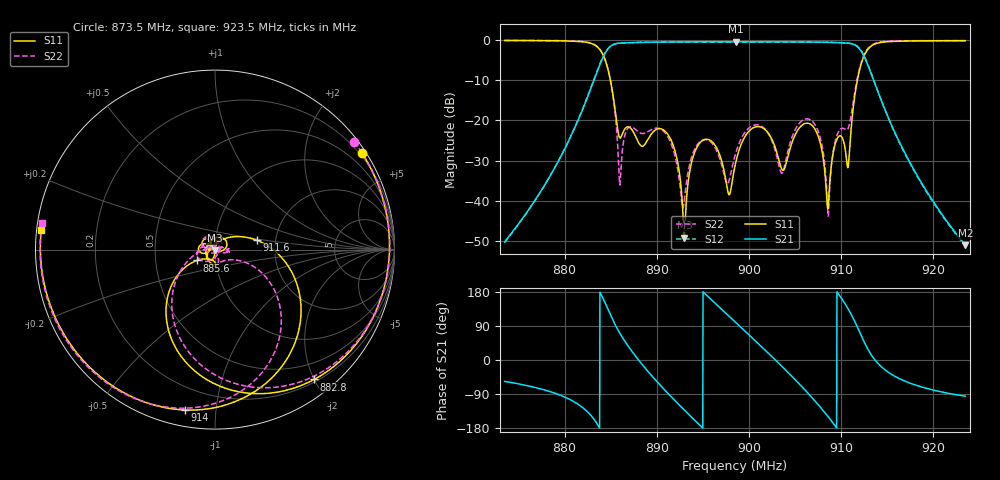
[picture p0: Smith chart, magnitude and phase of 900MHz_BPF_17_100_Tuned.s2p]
# MHz S RI R 50
! S-Parameters data
! Freq  reS11  imS11  reS21  imS21  reS12  imS12  reS22  imS22
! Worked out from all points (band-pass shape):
!   1601 points, 873.5 MHz to 923.5 MHz, reference 50 ohm
!   highest |S21| = -0.49 dB at 898.6 MHz (marker M1); lowest = -51.0 dB at 923.5 MHz (marker M2)
!   |S21| within 3 dB of the highest: 884.4 MHz to 912.4 MHz (27.98 MHz wide, 3.11 % of centre)
!   lowest |S11| = -49.2 dB at 893 MHz (marker M3), VSWR 1.01, Z = 49.8 - j0.288 ohm
!   |S11| at or under -10 dB: 885 MHz to 911.8 MHz (26.8 MHz wide, 2.98 % of centre)
!   |S22| runs from -43.8 to -0.2 dB; largest |S21 - S12| = 0.014
!   S11 on the Smith chart (normalised r, x): 873.5 MHz: 0.13, +3.33; 882.8 MHz: 0.24, -2.00; 885.6 MHz: 0.81, -0.10; 911.6 MHz: 1.60, +0.18; 914 MHz: 0.08, -0.83; 923.5 MHz: 0.01, +0.06
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873.5  0.8176 0.5392  0.0017 -0.00257  0.00175 -0.00248  0.7752 0.6005
881.8438  0.795 -0.5152  -0.0686 -0.1051  -0.0672 -0.1094  0.8664 -0.4012
882.75  0.5526 -0.7232  -0.1838 -0.1381  -0.1867 -0.1454  0.6622 -0.6368
884.4062  -0.2379 -0.5092  -0.5938 0.3314  -0.599 0.3436  -0.1663 -0.5432
885.5625  -0.0991 -0.0601  -0.000671 0.8935  0.00128 0.8929  -0.0997 -0.0192
886.0312  -0.0199 -0.0569  0.3177 0.8519  0.3167 0.8524  0.00458 0.016
887.7188  -0.0457 -0.0433  0.9108 0.1598  0.9118 0.1619  0.0742 -0.0204
890.1875  0.0507 0.0601  0.45 -0.8178  0.4531 -0.8162  0.0795 -0.00148
891.9375  0.0432 -0.00465  -0.2589 -0.9031  -0.257 -0.904  0.0344 -0.0158
893  -0.00192 -0.00289  -0.632 -0.6995  -0.6302 -0.7  0.00403 0.00918
894.7812  -0.0203 0.0498  -0.9387 -0.0934  -0.9366 -0.0962  0.0172 0.0523
898.5  -0.0271 0.00285  -0.1771 0.9283  -0.1769 0.9275  -0.0322 -0.0169
898.5938  -0.0304 0.00274  -0.1425 0.9343  -0.1423 0.9333  -0.0364 -0.0156
902.9062  -0.0218 0.0386  0.9427 -0.00583  0.9418 -0.00302  0.0187 0.0358
906.8438  -0.0836 0.0233  -0.1458 -0.9236  -0.146 -0.9202  -0.0976 -0.0105
908.625  -0.00585 -0.0069  -0.8075 -0.4639  -0.8063 -0.4645  -0.00363 -0.00534
909.625  -0.0209 -0.0564  -0.9219 0.0372  -0.923 0.0371  0.0193 -0.0649
910.7812  -0.0141 0.0223  -0.6386 0.6449  -0.6397 0.6458  0.0491 -0.0624
911.5938  0.2332 0.0521  -0.1005 0.8454  -0.1036 0.8513  0.236 -0.1085
914  -0.1694 -0.8934  0.2253 -0.0336  0.2252 -0.0402  -0.3087 -0.8715
915.1875  -0.553 -0.7708  0.0873 -0.0571  0.0849 -0.059  -0.6408 -0.7141
923.5  -0.9678 0.1115  -0.000269 -0.00279  -0.000255 -0.00272  -0.9639 0.1476
